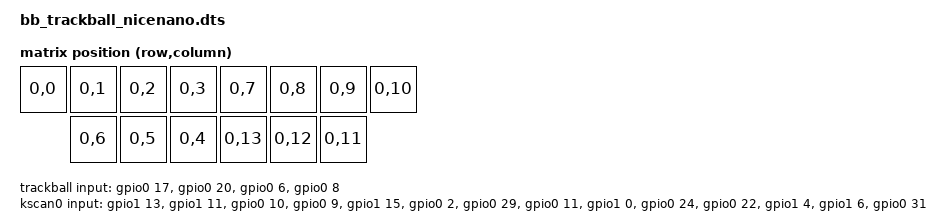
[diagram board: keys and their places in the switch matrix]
/*
 * Copyright (c) 2020 Pete Johanson
 *
 * SPDX-License-Identifier: MIT
 */

#include <dt-bindings/zmk/matrix_transform.h>
//#define ZMK_POINTING_DEFAULT_MOVE_VAL 1500  // default: 600
//#define ZMK_POINTING_DEFAULT_SCRL_VAL 20    // default: 10
//#include <dt-bindings/zmk/pointing.h>
#include <dt-bindings/zmk/input_transform.h>
#include <zephyr/dt-bindings/input/input-event-codes.h>

/ {

    /* ---------------------------------------------------------------------- *
     * 1. BlackBerry Trackball — analog-input-driver node                     *
     *                                                                         *
     * The zmk-analog-input-driver treats pairs of "positive" and "negative"  *
     * GPIO channels as a signed axis.  Each hall-sensor pulse is counted as  *
     * +1 or -1 movement.  The driver emits input_event(REL_X) and           *
     * input_event(REL_Y) which ZMK's pointing layer forwards as mouse motion.*
     * ---------------------------------------------------------------------- */

    trackball: trackball {
        compatible = "zmk,analog-input";
        status = "okay";

        /*
         * X-axis: right (+) and left (-)
         * GPIO flags: GPIO_ACTIVE_LOW | GPIO_PULL_UP
         * The hall sensors pull the line low when activated.
         */
        input-gpios
            = <&gpio0 17  (GPIO_ACTIVE_LOW | GPIO_PULL_UP)>  /* LFT → -X */
            , <&gpio0 20 (GPIO_ACTIVE_LOW | GPIO_PULL_UP)>  /* RHT → +X */
            , <&gpio0 6 (GPIO_ACTIVE_LOW | GPIO_PULL_UP)>  /* UP  → -Y */
            , <&gpio0 8 (GPIO_ACTIVE_LOW | GPIO_PULL_UP)>; /* DWN → +Y */

        /*
         * Axis mapping: the driver expects pairs in order
         *   (neg-x, pos-x, neg-y, pos-y)
         * so axes 0-1 map to X and axes 2-3 map to Y.
         */
        input-codes = <INPUT_REL_X INPUT_REL_X INPUT_REL_Y INPUT_REL_Y>;

        /*
         * Scale factor: multiply each raw pulse by this integer before
         * emitting the event.  The BB trackball only produces ~9 pulses per
         * full sweep, so multiply by 4–8 to get usable cursor speed.
         * Tune to taste.
         */
        scale-multiplier = <6>;
        scale-divisor    = <1>;

        /*
         * Emit events every time a GPIO edge is detected (no averaging).
         * Fine-grained so the input-processors can further smooth/scale.
         */
        event-type = <INPUT_EV_REL>;
    };
};
/*
/ {
    blackberry_trackball: blackberry_trackball {
        compatible = "zmk,bb-gpio-trackball";
        status = "okay";

        up-gpios    = <&gpio0 6  (GPIO_ACTIVE_LOW | GPIO_PULL_UP)>;
        down-gpios  = <&gpio0 8 (GPIO_ACTIVE_LOW | GPIO_PULL_UP)>;
        left-gpios  = <&gpio0 17 (GPIO_ACTIVE_LOW | GPIO_PULL_UP)>;
        right-gpios = <&gpio0 20 (GPIO_ACTIVE_LOW | GPIO_PULL_UP)>;
        click-gpios = <&gpio1 1 (GPIO_ACTIVE_LOW | GPIO_PULL_UP)>;

        move-step = <4>;
    };
};
*/

/ {
    chosen {
        zmk,kscan = &kscan0;
        zmk,matrix-transform = &default_transform;
    };

    default_transform: keymap_transform_0 {
        compatible = "zmk,matrix-transform";
        columns = <14>;
        rows = <1>;
        map = <
        RC(0,0)  RC(0,1)  RC(0,2)  RC(0,3)    RC(0,7)  RC(0,8)  RC(0,9)  RC(0,10)
                 RC(0,6)  RC(0,5)  RC(0,4)    RC(0,13) RC(0,12) RC(0,11)
        >;
    };

	kscan0: kscan_0 {
		compatible = "zmk,kscan-gpio-direct";
        wakeup-source;
    };

};

&kscan0 {

    input-gpios
    //Left Finger Row
    = <&gpio1 13 (GPIO_ACTIVE_LOW | GPIO_PULL_UP)>
    , <&gpio1 11 (GPIO_ACTIVE_LOW | GPIO_PULL_UP)>
    , <&gpio0 10 (GPIO_ACTIVE_LOW | GPIO_PULL_UP)>
    , <&gpio0 9 (GPIO_ACTIVE_LOW | GPIO_PULL_UP)>

    //Left Thumb Row
    , <&gpio1 15 (GPIO_ACTIVE_LOW | GPIO_PULL_UP)>
    , <&gpio0 2 (GPIO_ACTIVE_LOW | GPIO_PULL_UP)>
    , <&gpio0 29 (GPIO_ACTIVE_LOW | GPIO_PULL_UP)>

    //Right Finger Row
    ,<&gpio0 11 (GPIO_ACTIVE_LOW | GPIO_PULL_UP)>
    , <&gpio1 0 (GPIO_ACTIVE_LOW | GPIO_PULL_UP)>
    , <&gpio0 24 (GPIO_ACTIVE_LOW | GPIO_PULL_UP)>
    , <&gpio0 22 (GPIO_ACTIVE_LOW | GPIO_PULL_UP)>

    //Right Thumb Row
    , <&gpio1 4 (GPIO_ACTIVE_LOW | GPIO_PULL_UP)>
    , <&gpio1 6 (GPIO_ACTIVE_LOW | GPIO_PULL_UP)>
    , <&gpio0 31 (GPIO_ACTIVE_LOW | GPIO_PULL_UP)>
    ;
};

